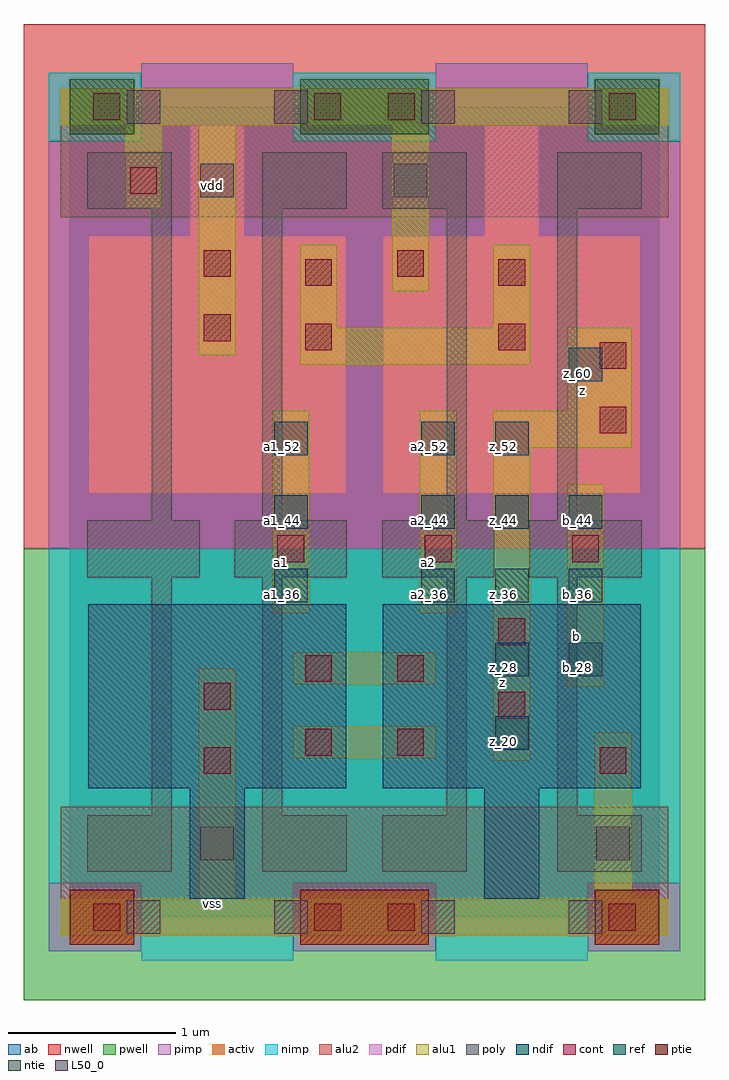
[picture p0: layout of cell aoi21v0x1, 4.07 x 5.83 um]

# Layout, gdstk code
import gdstk
lib = gdstk.Library(unit=1e-6, precision=2.5e-09)
def R(c, l, rs):  # rectangles x0, y0, x1, y1
    for r in rs: c.add(gdstk.rectangle(r[:2], r[2:], *l))
def A(c, l, x, y, w, h, nx, ny, dx, dy):  # array of equal rectangles
    R(c, l, [(x+i*dx, y+j*dy, x+i*dx+w, y+j*dy+h) for i in range(nx) for j in range(ny)])
ndif = (3, 0)
pdif = (4, 0)
ntie = (5, 0)
ptie = (6, 0)
ref = (24, 0)
cont = (25, 0)
pwell = (41, 0)
nwell = (42, 0)
activ = (43, 0)
pimp = (44, 0)
nimp = (45, 0)
poly = (46, 0)
alu1 = (49, 0)
L50_0 = (50, 0)
alu2 = (51, 0)
ab = (63, 0)

aoi21v0x1 = lib.new_cell('aoi21v0x1')
R(aoi21v0x1, ndif, [(0.715,0.11,1.045,0.77), (2.475,0.11,2.805,0.77), (0.11,0.77,1.65,1.87), (1.87,0.77,3.41,1.87)])
R(aoi21v0x1, pdif, [(0.11,2.53,1.65,4.07), (1.87,2.53,3.41,4.07), (0.715,4.07,1.045,4.73), (2.475,4.07,2.805,4.73)])
R(aoi21v0x1, ntie, [(0,4.675,0.385,5.005), (1.375,4.675,2.145,5.005), (3.135,4.675,3.52,5.005)])
R(aoi21v0x1, ptie, [(0,-0.165,0.385,0.165), (1.375,-0.165,2.145,0.165), (3.135,-0.165,3.52,0.165)])
A(aoi21v0x1, ref, 1.22, 1.88, 0.2, 0.2, 1, 3, 0, 0.44)
A(aoi21v0x1, ref, 2.1, 1.88, 0.2, 0.2, 3, 2, 0.44, 0.44)
R(aoi21v0x1, ref, [(2.54,1,2.74,1.2), (2.54,1.44,2.74,1.64), (2.98,1.44,3.18,1.64), (2.1,2.76,2.3,2.96), (2.54,2.76,2.74,2.96), (2.98,3.2,3.18,3.4)])
A(aoi21v0x1, cont, 1.24, 2.12, 0.16, 0.16, 3, 1, 0.88, 0)
R(aoi21v0x1, cont, [(0.14,-0.08,0.3,0.08), (1.46,-0.08,1.62,0.08), (1.9,-0.08,2.06,0.08), (3.22,-0.08,3.38,0.08), (0.8,0.855,0.96,1.015), (3.165,0.855,3.325,1.015), (1.405,0.965,1.565,1.125), (1.955,0.965,2.115,1.125), (2.56,1.185,2.72,1.345), (0.8,1.24,0.96,1.4), (1.405,1.405,1.565,1.565), (1.955,1.405,2.115,1.565), (2.56,1.625,2.72,1.785), (3.165,2.89,3.325,3.05), (3.165,3.275,3.325,3.435), (1.405,3.385,1.565,3.545), (2.56,3.385,2.72,3.545), (0.8,3.44,0.96,3.6), (1.405,3.77,1.565,3.93), (2.56,3.77,2.72,3.93), (0.8,3.825,0.96,3.985), (1.955,3.825,2.115,3.985), (0.36,4.32,0.52,4.48), (0.14,4.76,0.3,4.92), (1.46,4.76,1.62,4.92), (1.9,4.76,2.06,4.92), (3.22,4.76,3.38,4.92)])
R(aoi21v0x1, pwell, [(-0.275,-0.495,3.795,2.2)])
R(aoi21v0x1, nwell, [(-0.275,2.2,3.795,5.335)])
R(aoi21v0x1, activ, [(0,-0.165,0.385,0.165), (1.375,-0.165,2.145,0.165), (3.135,-0.165,3.52,0.165), (0.715,0.11,1.045,0.77), (2.475,0.11,2.805,0.77), (0.11,0.77,1.65,1.87), (1.87,0.77,3.41,1.87), (0.11,2.53,1.65,4.07), (1.87,2.53,3.41,4.07), (0.715,4.07,1.045,4.73), (2.475,4.07,2.805,4.73), (0,4.675,0.385,5.005), (1.375,4.675,2.145,5.005), (3.135,4.675,3.52,5.005)])
R(aoi21v0x1, pimp, [(-0.125,-0.205,0.425,0.205), (1.335,-0.205,2.185,0.205), (3.095,-0.205,3.645,0.205), (-0.125,2.2,3.645,4.635), (0.425,4.635,1.335,5.1), (2.185,4.635,3.095,5.1)])
R(aoi21v0x1, nimp, [(0.425,-0.26,1.335,0.205), (2.185,-0.26,3.095,0.205), (-0.125,0.205,3.645,2.2), (-0.125,4.635,0.425,5.045), (1.335,4.635,2.185,5.045), (3.095,4.635,3.645,5.045)])
A(aoi21v0x1, poly, 0.105, 2.03, 0.67, 0.34, 4, 1, 0.88, 0)
R(aoi21v0x1, poly, [(0.105,0.27,0.61,0.61), (1.15,0.27,1.655,0.61), (1.865,0.27,2.37,0.61), (2.91,0.27,3.415,0.61), (0.49,0.61,0.61,2.03), (1.15,0.61,1.27,2.03), (2.25,0.61,2.37,2.03), (2.91,0.61,3.03,2.03), (0.49,2.37,0.61,4.23), (1.15,2.37,1.27,4.23), (2.25,2.37,2.37,4.23), (2.91,2.37,3.03,4.23), (0.105,4.23,0.61,4.57), (1.15,4.23,1.655,4.57), (1.865,4.23,2.37,4.57), (2.91,4.23,3.415,4.57)])
R(aoi21v0x1, alu1, [(-0.055,-0.11,3.575,0.11), (0.77,0.11,0.99,1.485), (3.135,0.11,3.355,1.1), (2.53,0.935,2.75,2.805), (1.335,0.95,2.185,1.14), (2.97,1.375,3.19,2.585), (1.335,1.39,2.185,1.58), (1.21,1.815,1.43,3.025), (2.09,1.815,2.31,3.025), (2.53,2.805,3.355,3.025), (2.97,3.025,3.355,3.52), (1.375,3.3,2.75,3.52), (0.77,3.355,0.99,4.73), (1.375,3.52,1.595,4.015), (2.53,3.52,2.75,4.015), (1.925,3.74,2.145,4.73), (0.33,4.235,0.55,4.73), (-0.055,4.73,3.575,4.95)])
A(aoi21v0x1, L50_0, 0.34, -0.1, 0.2, 0.2, 4, 2, 0.88, 4.84)
R(aoi21v0x1, L50_0, [(0.78,0.34,0.98,0.54), (3.145,0.34,3.345,0.54), (0.78,4.3,0.98,4.5), (1.935,4.3,2.135,4.5)])
R(aoi21v0x1, alu2, [(-0.055,-0.11,3.575,0.66), (-0.055,4.18,3.575,4.95)])
R(aoi21v0x1, ab, [(0,0,3.52,4.84)])
aoi21v0x1.add(gdstk.Label('b', (3.025,1.6775), layer=49, texttype=0))
aoi21v0x1.add(gdstk.Label('z', (2.585,1.4025), layer=49, texttype=0))
aoi21v0x1.add(gdstk.Label('a2', (2.145,2.1175), layer=49, texttype=0))
aoi21v0x1.add(gdstk.Label('a1', (1.265,2.1175), layer=49, texttype=0))
aoi21v0x1.add(gdstk.Label('z', (3.065,3.1475), layer=49, texttype=0))
aoi21v0x1.add(gdstk.Label('vss', (0.8525,0.0825), layer=51, texttype=0))
aoi21v0x1.add(gdstk.Label('vdd', (0.8525,4.3725), layer=51, texttype=0))
aoi21v0x1.add(gdstk.Label('a2_52', (2.15,2.81), layer=24, texttype=0))
aoi21v0x1.add(gdstk.Label('a2_44', (2.15,2.37), layer=24, texttype=0))
aoi21v0x1.add(gdstk.Label('a2_36', (2.15,1.93), layer=24, texttype=0))
aoi21v0x1.add(gdstk.Label('z_52', (2.59,2.81), layer=24, texttype=0))
aoi21v0x1.add(gdstk.Label('b_44', (3.03,2.37), layer=24, texttype=0))
aoi21v0x1.add(gdstk.Label('a1_44', (1.27,2.37), layer=24, texttype=0))
aoi21v0x1.add(gdstk.Label('a1_36', (1.27,1.93), layer=24, texttype=0))
aoi21v0x1.add(gdstk.Label('a1_52', (1.27,2.81), layer=24, texttype=0))
aoi21v0x1.add(gdstk.Label('z_44', (2.59,2.37), layer=24, texttype=0))
aoi21v0x1.add(gdstk.Label('z_36', (2.59,1.93), layer=24, texttype=0))
aoi21v0x1.add(gdstk.Label('z_28', (2.59,1.49), layer=24, texttype=0))
aoi21v0x1.add(gdstk.Label('b_36', (3.03,1.93), layer=24, texttype=0))
aoi21v0x1.add(gdstk.Label('b_28', (3.03,1.49), layer=24, texttype=0))
aoi21v0x1.add(gdstk.Label('z_20', (2.59,1.05), layer=24, texttype=0))
aoi21v0x1.add(gdstk.Label('z_60', (3.03,3.25), layer=24, texttype=0))

lib.write_gds('aoi21v0x1.gds')
